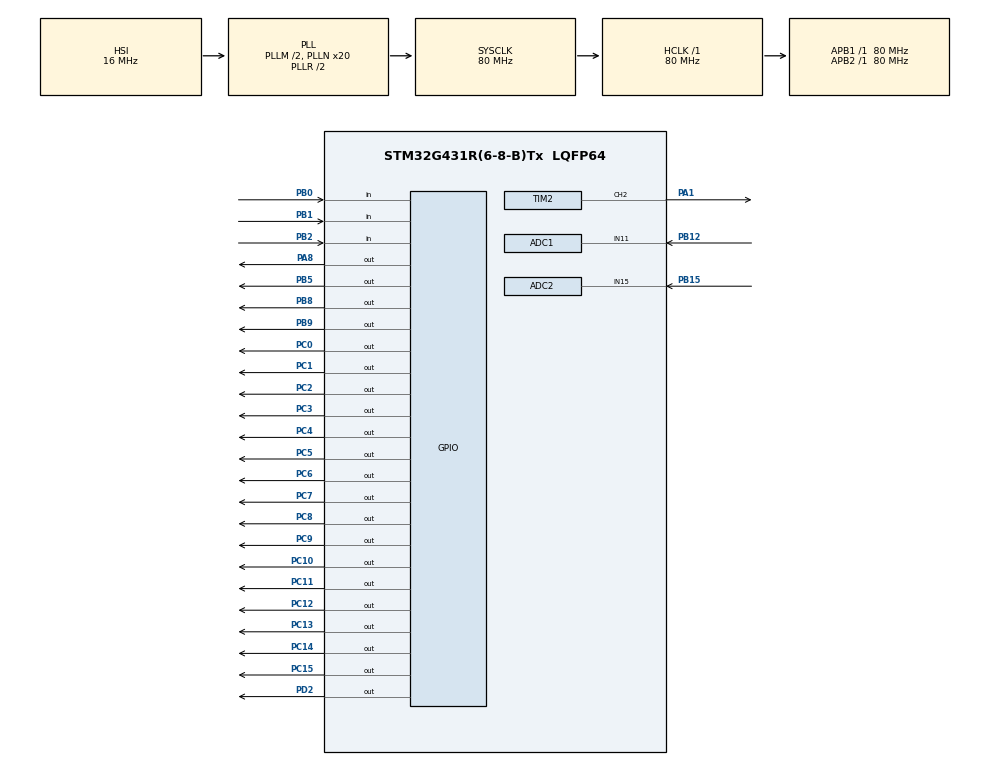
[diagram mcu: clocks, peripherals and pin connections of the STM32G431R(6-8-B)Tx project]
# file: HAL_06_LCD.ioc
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ADC1.Channel-0\#ChannelRegularConversion=ADC_CHANNEL_11
ADC1.NbrOfConversionFlag=1
ADC1.OffsetNumber-0\#ChannelRegularConversion=ADC_OFFSET_NONE
ADC1.Rank-0\#ChannelRegularConversion=1
ADC1.SamplingTime-0\#ChannelRegularConversion=ADC_SAMPLETIME_2CYCLES_5
ADC1.master=1
ADC2.Channel-0\#ChannelRegularConversion=ADC_CHANNEL_15
ADC2.NbrOfConversionFlag=1
ADC2.OffsetNumber-0\#ChannelRegularConversion=ADC_OFFSET_NONE
ADC2.Rank-0\#ChannelRegularConversion=1
ADC2.SamplingTime-0\#ChannelRegularConversion=ADC_SAMPLETIME_2CYCLES_5
Mcu.Family=STM32G4
Mcu.Name=STM32G431R(6-8-B)Tx
Mcu.Package=LQFP64
NVIC.PriorityGroup=NVIC_PRIORITYGROUP_4
NVIC.TIM4_IRQn=true\:0\:0\:false\:false\:true\:true\:true\:true
PA1.Signal=S_TIM2_CH2
PA8.Signal=GPIO_Output
PB0.GPIO_Mode=GPIO_MODE_INPUT
PB0.GPIO_PuPd=GPIO_PULLUP
PB0.Signal=GPIO_Input
PB1.GPIO_Mode=GPIO_MODE_INPUT
PB1.GPIO_PuPd=GPIO_PULLUP
PB1.Signal=GPIO_Input
PB12.Mode=IN11-Single-Ended
PB12.Signal=ADC1_IN11
PB15.Mode=IN15-Single-Ended
PB15.Signal=ADC2_IN15
PB2.GPIO_Mode=GPIO_MODE_INPUT
PB2.GPIO_PuPd=GPIO_PULLUP
PB2.Signal=GPIO_Input
PB5.Signal=GPIO_Output
PB8-BOOT0.Signal=GPIO_Output
PB9.Signal=GPIO_Output
PC0.Signal=GPIO_Output
PC1.Signal=GPIO_Output
PC10.Signal=GPIO_Output
PC11.Signal=GPIO_Output
PC12.Signal=GPIO_Output
PC13.Signal=GPIO_Output
PC14-OSC32_IN.Signal=GPIO_Output
PC15-OSC32_OUT.Signal=GPIO_Output
PC2.Signal=GPIO_Output
PC3.Signal=GPIO_Output
PC4.Signal=GPIO_Output
PC5.Signal=GPIO_Output
PC6.Signal=GPIO_Output
PC7.Signal=GPIO_Output
PC8.Signal=GPIO_Output
PC9.Signal=GPIO_Output
PD2.Signal=GPIO_Output
PF0-OSC_IN.Mode=HSE-External-Oscillator
PF0-OSC_IN.Signal=RCC_OSC_IN
PF1-OSC_OUT.Mode=HSE-External-Oscillator
PF1-OSC_OUT.Signal=RCC_OSC_OUT
ProjectManager.HeapSize=0x200
ProjectManager.StackSize=0x400
ProjectManager.TargetToolchain=MDK-ARM V5.27
RCC.ADC12Freq_Value=80000000
RCC.AHBFreq_Value=80000000
RCC.APB1Freq_Value=80000000
RCC.APB1TimFreq_Value=80000000
RCC.APB2Freq_Value=80000000
RCC.APB2TimFreq_Value=80000000
RCC.CortexFreq_Value=80000000
RCC.EXTERNAL_CLOCK_VALUE=12288000
RCC.HCLKFreq_Value=80000000
RCC.HSE_VALUE=24000000
RCC.HSI48_VALUE=48000000
RCC.HSI_VALUE=16000000
RCC.LSE_VALUE=32768
RCC.PLLM=RCC_PLLM_DIV2
RCC.PLLN=20
RCC.SYSCLKFreq_VALUE=80000000
RCC.SYSCLKSource=RCC_SYSCLKSOURCE_PLLCLK
RCC.USBFreq_Value=80000000
RCC.VCOOutputFreq_Value=160000000
SH.S_TIM2_CH2.0=TIM2_CH2,PWM Generation2 CH2
TIM2.Channel-PWM\ Generation2\ CH2=TIM_CHANNEL_2
TIM2.PeriodNoDither=100-1
TIM2.Prescaler=800-1
TIM2.PulseNoDither_2=50
TIM4.PeriodNoDither=10000-1
TIM4.Prescaler=80-1
VP_SYS_VS_DBSignals.Mode=DisableDeadBatterySignals
VP_TIM2_VS_ClockSourceINT.Mode=Internal
VP_TIM4_VS_ClockSourceINT.Mode=Internal
board=custom

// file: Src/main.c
/* USER CODE BEGIN Header */
/**
  ******************************************************************************
  * @file           : main.c
  * @brief          : Main program body
  ******************************************************************************
  * @attention
  *
  * <h2><center>&copy; Copyright (c) 2021 STMicroelectronics.
  * All rights reserved.</center></h2>
  *
  * This software component is licensed by ST under BSD 3-Clause license,
  * the "License"; You may not use this file except in compliance with the
  * License. You may obtain a copy of the License at:
  *                        opensource.org/licenses/BSD-3-Clause
  *
  ******************************************************************************
  */
/* USER CODE END Header */
#include "main.h"
#include "adc.h"
#include "tim.h"
#include "gpio.h"

/* USER CODE BEGIN PV */
extern keys key[3];
bool view=0;

float vp1=2.4,vp2=2.4;
/* USER CODE END PV */

void SystemClock_Config(void);
/* USER CODE BEGIN PFP */
void disp_proc(void);
void key_proc(void);
void led_proc(void);
void pwm_proc(void);
/* USER CODE END PFP */

int main(void)
{

  /* MCU Configuration--------------------------------------------------------*/

  /* Reset of all peripherals, Initializes the Flash interface and the Systick. */
  HAL_Init();

  /* Configure the system clock */
  SystemClock_Config();

  /* Initialize all configured peripherals */
  MX_GPIO_Init();
  MX_TIM4_Init();
  MX_ADC1_Init();
  MX_ADC2_Init();
  MX_TIM2_Init();
  /* USER CODE BEGIN 2 */

	LCD_Init();
	HAL_TIM_Base_Start_IT(&htim4);
	HAL_TIM_PWM_Start(&htim2, TIM_CHANNEL_2);
	__HAL_TIM_SetClockDivision(&htim2,4000-1);
  /* USER CODE END 2 */

  /* Infinite loop */
  /* USER CODE BEGIN WHILE */

	LCD_Clear(Black);
	LCD_SetBackColor(Black);
	LCD_SetTextColor(White);

  while (1)
  {
    /* USER CODE END WHILE */

    /* USER CODE BEGIN 3 */
		disp_proc();
		key_proc();
		led_proc();
		pwm_proc();
  }
  /* USER CODE END 3 */
}

void SystemClock_Config(void)
{
  RCC_OscInitTypeDef RCC_OscInitStruct = {0};
  RCC_ClkInitTypeDef RCC_ClkInitStruct = {0};

  /** Configure the main internal regulator output voltage
  */
  HAL_PWREx_ControlVoltageScaling(PWR_REGULATOR_VOLTAGE_SCALE1);

  /** Initializes the RCC Oscillators according to the specified parameters
  * in the RCC_OscInitTypeDef structure.
  */
  RCC_OscInitStruct.OscillatorType = RCC_OSCILLATORTYPE_HSI;
  RCC_OscInitStruct.HSIState = RCC_HSI_ON;
  RCC_OscInitStruct.HSICalibrationValue = RCC_HSICALIBRATION_DEFAULT;
  RCC_OscInitStruct.PLL.PLLState = RCC_PLL_ON;
  RCC_OscInitStruct.PLL.PLLSource = RCC_PLLSOURCE_HSI;
  RCC_OscInitStruct.PLL.PLLM = RCC_PLLM_DIV2;
  RCC_OscInitStruct.PLL.PLLN = 20;
  RCC_OscInitStruct.PLL.PLLP = RCC_PLLP_DIV2;
  RCC_OscInitStruct.PLL.PLLQ = RCC_PLLQ_DIV2;
  RCC_OscInitStruct.PLL.PLLR = RCC_PLLR_DIV2;
  if (HAL_RCC_OscConfig(&RCC_OscInitStruct) != HAL_OK)
  {
    Error_Handler();
  }

  /** Initializes the CPU, AHB and APB buses clocks
  */
  RCC_ClkInitStruct.ClockType = RCC_CLOCKTYPE_HCLK|RCC_CLOCKTYPE_SYSCLK
                              |RCC_CLOCKTYPE_PCLK1|RCC_CLOCKTYPE_PCLK2;
  RCC_ClkInitStruct.SYSCLKSource = RCC_SYSCLKSOURCE_PLLCLK;
  RCC_ClkInitStruct.AHBCLKDivider = RCC_SYSCLK_DIV1;
  RCC_ClkInitStruct.APB1CLKDivider = RCC_HCLK_DIV1;
  RCC_ClkInitStruct.APB2CLKDivider = RCC_HCLK_DIV1;

  if (HAL_RCC_ClockConfig(&RCC_ClkInitStruct, FLASH_LATENCY_2) != HAL_OK)
  {
    Error_Handler();
  }
}

/* USER CODE BEGIN 4 */
void disp_proc()
{
	if(view==0)
	{
		char text[20];
		sprintf(text,"      DATA      ");
	  LCD_DisplayStringLine(Line1, (uint8_t *)text);
		sprintf(text,"   VR37:%.2fV      ",get_adc(&hadc2));
	  LCD_DisplayStringLine(Line3, (uint8_t *)text);
		sprintf(text,"   VR38:%.2fV      ",get_adc(&hadc1));
	  LCD_DisplayStringLine(Line4, (uint8_t *)text);
	}
	if(view==1)
	{
		char text[20];
		sprintf(text,"      PARA      ");
	  LCD_DisplayStringLine(Line1, (uint8_t *)text);
		sprintf(text,"   VP1:%.1fV      ",vp1);
	  LCD_DisplayStringLine(Line3, (uint8_t *)text);
		sprintf(text,"   VP2:%.1fV      ",vp2);
	  LCD_DisplayStringLine(Line4, (uint8_t *)text);
	}
}

void key_proc()
{
	if(key[0].key_single==1)
	{
		view=!view;
		key[0].key_single=0;
	}
	if(key[1].key_single==1)
	{
		if(view==1)
		{
			vp1+=0.3;
			if(vp1>3.3)
				vp1=0;
		}
		key[1].key_single=0;
	}
	if(key[2].key_single==1)
	{
		if(view==1)
		{
			vp2+=0.3;
			if(vp2>3.3)
				vp2=0;
		}
		key[2].key_single=0;
	}
}

void led_proc()
{
	led_init();
	if(get_adc(&hadc2)>vp1)
		ld1(0);
	else
		ld1(1);
	if(get_adc(&hadc1)>vp2)
		ld2(0);
	else
		ld2(1);
}

void pwm_proc()
{
	if(get_adc(&hadc2)>get_adc(&hadc1))
		__HAL_TIM_SetClockDivision(&htim2,80-1);
	else
		__HAL_TIM_SetClockDivision(&htim2,4000-1);
}
/* USER CODE END 4 */

void Error_Handler(void)
{
}
